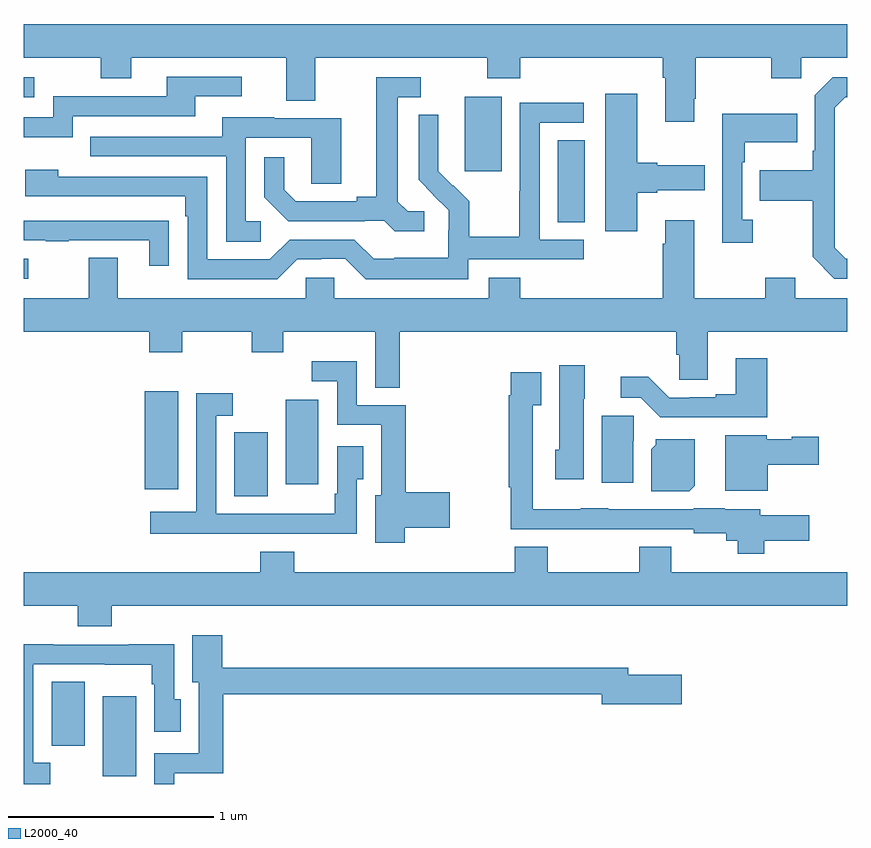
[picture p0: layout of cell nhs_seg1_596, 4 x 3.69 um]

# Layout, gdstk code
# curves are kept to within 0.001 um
import gdstk
lib = gdstk.Library(unit=1e-6, precision=1e-09)
def R(c, l, rs):  # rectangles x0, y0, x1, y1
    for r in rs: c.add(gdstk.rectangle(r[:2], r[2:], *l))
def P(c, l, *ps):  # polygons
    for p in ps: c.add(gdstk.Polygon(p, *l))
L2000_40 = (2000, 40)

nhs_seg1_596 = lib.new_cell('nhs_seg1_596')
R(nhs_seg1_596, L2000_40, [(143.384,552.236,143.545,552.625), (143.135,552.384,143.296,552.695), (144.023,553.597,144.184,553.908), (143.588,553.632,143.749,554.107), (144.272,553.656,144.43,554.065), (143,554.655,143.02,554.751), (145.595,554.929,145.726,555.326), (145.142,555.177,145.321,555.538), (143,555.537,143.05,555.633)])
P(nhs_seg1_596, L2000_40, [(146.257,555.529),(146.265,555.529),(146.265,555.728),(146.632,555.728),(146.632,555.629),(146.778,555.629),(146.778,555.728),(147,555.728),(147,555.892),(143,555.892),(143,555.728),(143.374,555.728),(143.374,555.629),(143.521,555.629),(143.521,555.728),(144.275,555.728),(144.275,555.52),(144.415,555.52),(144.415,555.728),(145.252,555.728),(145.252,555.629),(145.412,555.629),(145.412,555.728),(146.105,555.728),(146.105,555.632),(146.117,555.632),(146.117,555.417),(146.257,555.417)],
  [(143.238,555.444),(143.833,555.444),(143.833,555.54),(144.058,555.54),(144.058,555.636),(143.693,555.636),(143.693,555.54),(143.142,555.54),(143.142,555.438),(143,555.438),(143,555.341),(143.238,555.341)],
  [(147,554.751),(146.994,554.751),(146.94,554.805),(146.94,555.486),(146.991,555.537),(147,555.537),(147,555.633),(146.931,555.633),(146.844,555.546),(146.844,555.277),(146.832,555.277),(146.832,555.181),(146.575,555.181),(146.575,555.034),(146.832,555.034),(146.832,554.761),(146.937,554.655),(147,554.655)],
  [(144.946,554.982),(144.864,554.982),(144.817,555.029),(144.817,555.537),(144.928,555.537),(144.928,555.633),(144.713,555.633),(144.713,555.053),(144.617,555.053),(144.617,555.03),(144.322,555.03),(144.265,555.087),(144.265,555.244),(144.168,555.244),(144.168,555.05),(144.284,554.934),(144.656,554.934),(144.656,554.937),(144.75,554.937),(144.802,554.885),(144.946,554.885)],
  [(145.981,555.071),(146.077,555.071),(146.077,555.083),(146.308,555.083),(146.308,555.205),(146.077,555.205),(146.077,555.218),(145.981,555.218),(145.981,555.553),(145.826,555.553),(145.826,554.886),(145.981,554.886)],
  [(145.158,554.748),(145.72,554.748),(145.72,554.844),(145.506,554.844),(145.506,555.411),(145.72,555.411),(145.72,555.51),(145.41,555.51),(145.41,555.08),(145.408,555.08),(145.408,554.857),(145.163,554.857),(145.163,555.031),(145.086,555.108),(145.083,555.105),(145.013,555.176),(145.014,555.452),(144.918,555.452),(144.918,555.134),(145.064,554.986),(145.064,554.889),(145.062,554.889),(145.062,554.755),(144.799,554.755),(144.799,554.751),(144.699,554.751),(144.606,554.844),(144.291,554.844),(144.195,554.748),(143.892,554.748),(143.892,555.15),(143.168,555.15),(143.168,555.184),(143.007,555.184),(143.007,555.054),(143.783,555.054),(143.783,554.957),(143.796,554.957),(143.796,554.652),(144.231,554.652),(144.327,554.748),(144.446,554.748),(144.446,554.751),(144.561,554.751),(144.661,554.651),(145.158,554.651)],
  [(146.542,554.942),(146.49,554.942),(146.49,555.221),(146.503,555.221),(146.503,555.317),(146.759,555.317),(146.759,555.457),(146.394,555.457),(146.394,554.829),(146.542,554.829)],
  [(144.151,554.934),(144.078,554.934),(144.078,555.339),(144.396,555.339),(144.396,555.115),(144.541,555.115),(144.541,555.435),(144.217,555.435),(144.217,555.439),(143.963,555.439),(143.963,555.345),(143.323,555.345),(143.323,555.249),(143.982,555.249),(143.982,554.833),(144.151,554.833)],
  [(144.826,554.396),(146.171,554.396),(146.171,554.286),(146.184,554.286),(146.184,554.164),(146.323,554.164),(146.323,554.396),(147,554.396),(147,554.56),(146.749,554.56),(146.749,554.659),(146.602,554.659),(146.602,554.56),(146.257,554.56),(146.257,554.938),(146.117,554.938),(146.117,554.825),(146.105,554.825),(146.105,554.56),(145.412,554.56),(145.412,554.659),(145.259,554.659),(145.259,554.56),(144.507,554.56),(144.507,554.658),(144.369,554.658),(144.369,554.56),(143.455,554.56),(143.455,554.755),(143.315,554.755),(143.315,554.56),(143,554.56),(143,554.396),(143.609,554.396),(143.609,554.297),(143.769,554.297),(143.769,554.396),(144.106,554.396),(144.106,554.297),(144.261,554.297),(144.261,554.396),(144.707,554.396),(144.707,554.125),(144.826,554.125)],
  [(143.705,554.936),(143.603,554.936),(143.603,554.937),(143,554.937),(143,554.841),(143.107,554.841),(143.107,554.836),(143.219,554.836),(143.219,554.841),(143.609,554.841),(143.609,554.718),(143.705,554.718)],
  [(146.612,554.269),(146.459,554.269),(146.459,554.092),(146.363,554.092),(146.363,554.079),(146.236,554.079),(146.236,554.076),(146.136,554.076),(146.034,554.179),(145.899,554.179),(145.899,554.076),(145.998,554.076),(146.092,553.982),(146.612,553.982)],
  [(144.851,553.445),(145.069,553.445),(145.069,553.616),(144.856,553.616),(144.856,554.04),(144.618,554.04),(144.618,554.254),(144.399,554.254),(144.399,554.157),(144.522,554.157),(144.522,553.944),(144.737,553.944),(144.737,553.603),(144.707,553.603),(144.707,553.371),(144.851,553.371)],
  [(145.72,554.07),(145.726,554.07),(145.726,554.233),(145.601,554.233),(145.601,553.824),(145.583,553.824),(145.583,553.68),(145.72,553.68)],
  [(146.597,553.382),(146.815,553.382),(146.815,553.504),(146.578,553.504),(146.578,553.534),(146.406,553.534),(146.406,553.54),(146.256,553.54),(146.256,553.533),(145.839,553.533),(145.839,553.54),(145.707,553.54),(145.707,553.534),(145.473,553.534),(145.473,554.039),(145.513,554.039),(145.513,554.2),(145.365,554.2),(145.365,554.087),(145.357,554.087),(145.357,553.64),(145.365,553.64),(145.365,553.437),(145.607,553.437),(145.607,553.436),(145.839,553.436),(145.839,553.437),(146.256,553.437),(146.256,553.418),(146.414,553.418),(146.414,553.382),(146.469,553.382),(146.469,553.319),(146.597,553.319)],
  [(144.031,553.416),(144.397,553.416),(144.397,553.415),(144.618,553.415),(144.618,553.681),(144.649,553.681),(144.649,553.84),(144.522,553.84),(144.522,553.609),(144.51,553.609),(144.51,553.513),(144.28,553.513),(144.28,553.512),(143.934,553.512),(143.934,553.989),(144.016,553.989),(144.016,554.098),(143.838,554.098),(143.838,553.522),(143.613,553.522),(143.613,553.415),(144.031,553.415)],
  [(145.96,553.866),(145.964,553.866),(145.964,553.989),(145.808,553.989),(145.808,553.662),(145.96,553.662)],
  [(146.614,553.751),(146.863,553.751),(146.863,553.886),(146.73,553.886),(146.73,553.873),(146.61,553.873),(146.61,553.894),(146.408,553.894),(146.408,553.625),(146.614,553.625)],
  [(146.26,553.648),(146.26,553.873),(146.07,553.873),(146.07,553.848),(146.048,553.826),(146.048,553.622),(146.234,553.622)],
  [(143.426,553.064),(147,553.064),(147,553.228),(146.145,553.228),(146.145,553.352),(145.99,553.352),(145.99,553.228),(145.545,553.228),(145.545,553.352),(145.385,553.352),(145.385,553.228),(144.314,553.228),(144.314,553.327),(144.149,553.327),(144.149,553.228),(143,553.228),(143,553.064),(143.261,553.064),(143.261,552.965),(143.426,552.965)],
  [(143.73,552.252),(143.968,552.252),(143.968,552.634),(145.808,552.634),(145.808,552.587),(146.197,552.587),(146.197,552.729),(145.936,552.729),(145.936,552.763),(143.963,552.763),(143.963,552.922),(143.819,552.922),(143.819,552.693),(143.849,552.693),(143.849,552.348),(143.634,552.348),(143.634,552.199),(143.73,552.199)],
  [(143.128,552.303),(143.046,552.303),(143.046,552.78),(143.392,552.78),(143.392,552.779),(143.622,552.779),(143.622,552.683),(143.634,552.683),(143.634,552.453),(143.761,552.453),(143.761,552.612),(143.73,552.612),(143.73,552.878),(143.509,552.878),(143.509,552.876),(143.143,552.876),(143.143,552.878),(143,552.878),(143,552.199),(143.128,552.199)])

lib.write_gds('nhs_seg1_596.gds')
